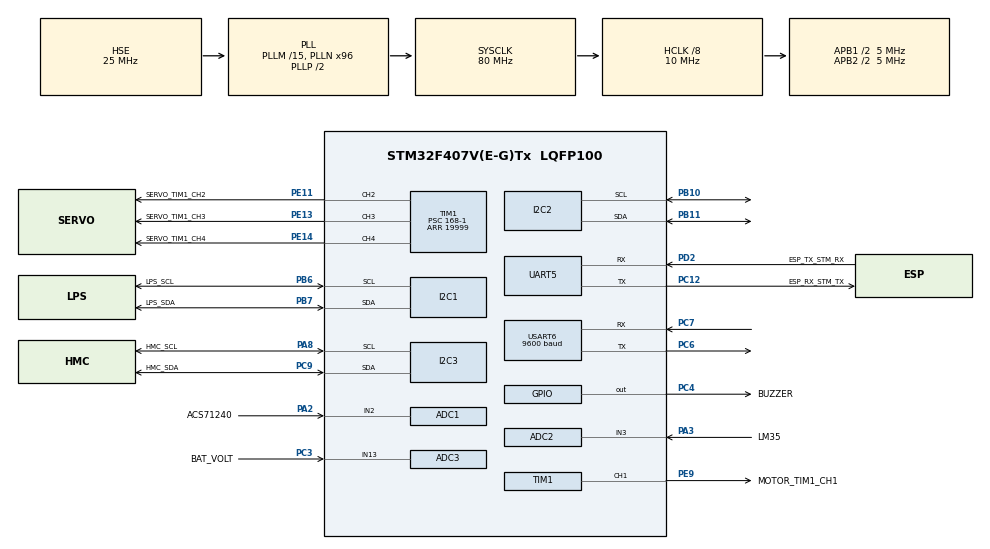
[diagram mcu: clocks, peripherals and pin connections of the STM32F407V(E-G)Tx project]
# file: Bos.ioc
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Mcu.Family=STM32F4
Dma.USART6_TX.3.MemInc=DMA_MINC_ENABLE
Dma.UART5_RX.1.MemInc=DMA_MINC_ENABLE
PH0-OSC_IN.Signal=RCC_OSC_IN
SH.S_TIM1_CH4.0=TIM1_CH4,PWM Generation4 CH4
RCC.CortexFreq_Value=10000000
Dma.USART6_TX.3.PeriphInc=DMA_PINC_DISABLE
PB10.Mode=I2C
PE11.GPIO_Label=SERVO_TIM1_CH2
SH.ADCx_IN2.0=ADC1_IN2,IN2
Dma.USART6_RX.2.Direction=DMA_PERIPH_TO_MEMORY
PC12.Signal=UART5_TX
PB6.GPIO_Label=LPS_SCL
Dma.UART5_TX.0.FIFOMode=DMA_FIFOMODE_DISABLE
Dma.UART5_RX.1.Mode=DMA_CIRCULAR
PB11.Signal=I2C2_SDA
Dma.USART6_RX.2.MemDataAlignment=DMA_MDATAALIGN_BYTE
RCC.SYSCLKSource=RCC_SYSCLKSOURCE_PLLCLK
ProjectManager.StackSize=0x400
Dma.USART6_TX.3.PeriphDataAlignment=DMA_PDATAALIGN_BYTE
ADC3.Channel-6\#ChannelRegularConversion=ADC_CHANNEL_13
NVIC.ADC_IRQn=true\:0\:0\:false\:false\:true\:true\:true
TIM1.Prescaler=168-1
Dma.USART6_TX.3.Priority=DMA_PRIORITY_LOW
TIM1.Channel-PWM\ Generation4\ CH4=TIM_CHANNEL_4
RCC.HCLKFreq_Value=10000000
SH.ADCx_IN3.0=ADC2_IN3,IN3
RCC.APB2TimFreq_Value=10000000
Dma.UART5_TX.0.Priority=DMA_PRIORITY_LOW
PB6.Signal=I2C1_SCL
Dma.UART5_TX.0.PeriphDataAlignment=DMA_PDATAALIGN_BYTE
ADC1.Channel-2\#ChannelRegularConversion=ADC_CHANNEL_2
PC7.Signal=USART6_RX
PB6.Mode=I2C
Dma.USART6_RX.2.Instance=DMA2_Stream1
PC3.Signal=ADCx_IN13
RCC.AHBFreq_Value=10000000
PH0-OSC_IN.Mode=HSE-External-Oscillator
RCC.HSE_VALUE=25000000
Dma.USART6_RX.2.Priority=DMA_PRIORITY_LOW
ADC1.Rank-2\#ChannelRegularConversion=1
PE13.Signal=S_TIM1_CH3
PC4.GPIO_Label=BUZZER
TIM1.Channel-PWM\ Generation1\ CH1=TIM_CHANNEL_1
PE9.Signal=S_TIM1_CH1
PC9.Mode=I2C
PB7.Signal=I2C1_SDA
PA8.Signal=I2C3_SCL
Dma.UART5_TX.0.MemDataAlignment=DMA_MDATAALIGN_BYTE
VP_TIM1_VS_ClockSourceINT.Mode=Internal
NVIC.DMA1_Stream7_IRQn=true\:0\:0\:false\:false\:true\:false\:true
PH1-OSC_OUT.Mode=HSE-External-Oscillator
PB7.GPIO_Label=LPS_SDA
Mcu.Package=LQFP100
USART6.VirtualMode=VM_ASYNC
PA2.GPIO_Label=ACS71240
Dma.UART5_TX.0.MemInc=DMA_MINC_ENABLE
USART6.BaudRate=9600
ADC3.ClockPrescaler=ADC_CLOCK_SYNC_PCLK_DIV4
RCC.APB2CLKDivider=RCC_HCLK_DIV2
Dma.UART5_TX.0.PeriphInc=DMA_PINC_DISABLE
Dma.USART6_TX.3.MemDataAlignment=DMA_MDATAALIGN_BYTE
Dma.Request2=USART6_RX
Dma.Request1=UART5_RX
RCC.APB1TimFreq_Value=10000000
Dma.Request3=USART6_TX
NVIC.DMA1_Stream0_IRQn=true\:0\:0\:false\:false\:true\:false\:true
TIM1.Period=19999
Dma.Request0=UART5_TX
ADC2.Channel-3\#ChannelRegularConversion=ADC_CHANNEL_3
PA3.Signal=ADCx_IN3
ADC2.ClockPrescaler=ADC_CLOCK_SYNC_PCLK_DIV4
RCC.PLLSourceVirtual=RCC_PLLSOURCE_HSE
SH.ADCx_IN13.0=ADC3_IN13,IN13
PC9.GPIO_Label=HMC_SDA
ADC2.Rank-3\#ChannelRegularConversion=1
ADC3.Rank-6\#ChannelRegularConversion=1
Dma.UART5_RX.1.MemDataAlignment=DMA_MDATAALIGN_BYTE
PC4.Signal=GPIO_Output
PC6.Signal=USART6_TX
PE14.GPIO_Label=SERVO_TIM1_CH4
NVIC.DMA2_Stream1_IRQn=true\:0\:0\:false\:false\:true\:false\:true
UART5.VirtualMode=Asynchronous
RCC.APB1CLKDivider=RCC_HCLK_DIV2
Dma.USART6_TX.3.Mode=DMA_CIRCULAR
ADC1.SamplingTime-2\#ChannelRegularConversion=ADC_SAMPLETIME_3CYCLES
PA13.Signal=SYS_JTMS-SWDIO
Dma.UART5_RX.1.FIFOMode=DMA_FIFOMODE_DISABLE
PA8.GPIO_Label=HMC_SCL
SH.S_TIM1_CH1.0=TIM1_CH1,PWM Generation1 CH1
PB11.Mode=I2C
ProjectManager.TargetToolchain=STM32CubeIDE
Dma.USART6_RX.2.MemInc=DMA_MINC_ENABLE
PC6.Mode=Asynchronous
ADC3.SamplingTime-6\#ChannelRegularConversion=ADC_SAMPLETIME_3CYCLES
TIM1.Channel-PWM\ Generation2\ CH2=TIM_CHANNEL_2
Dma.USART6_RX.2.PeriphDataAlignment=DMA_PDATAALIGN_BYTE
NVIC.DMA2_Stream6_IRQn=true\:0\:0\:false\:false\:true\:false\:true
PE11.Signal=S_TIM1_CH2
RCC.LSE_VALUE=32768
PE9.GPIO_Label=MOTOR_TIM1_CH1
PB10.Signal=I2C2_SCL
PD2.Mode=Asynchronous
Dma.UART5_RX.1.Direction=DMA_PERIPH_TO_MEMORY
PC12.Mode=Asynchronous
Dma.UART5_RX.1.Instance=DMA1_Stream0
Dma.USART6_TX.3.Direction=DMA_MEMORY_TO_PERIPH
board=custom
RCC.VCOOutputFreq_Value=160000000
Dma.UART5_TX.0.Direction=DMA_MEMORY_TO_PERIPH
Dma.USART6_RX.2.FIFOMode=DMA_FIFOMODE_DISABLE
Dma.UART5_RX.1.PeriphInc=DMA_PINC_DISABLE
Dma.USART6_RX.2.Mode=DMA_CIRCULAR
RCC.APB2Freq_Value=5000000
PE14.Signal=S_TIM1_CH4
Dma.UART5_RX.1.PeriphDataAlignment=DMA_PDATAALIGN_BYTE
SH.S_TIM1_CH2.0=TIM1_CH2,PWM Generation2 CH2
PH1-OSC_OUT.Signal=RCC_OSC_OUT
RCC.AHBCLKDivider=RCC_SYSCLK_DIV8
ADC2.SamplingTime-3\#ChannelRegularConversion=ADC_SAMPLETIME_3CYCLES
Mcu.Name=STM32F407V(E-G)Tx
PA2.Signal=ADCx_IN2
RCC.48MHZClocksFreq_Value=40000000
RCC.SYSCLKFreq_VALUE=80000000
ADC1.master=1
PE13.GPIO_Label=SERVO_TIM1_CH3
ADC2.NbrOfConversionFlag=1
Dma.UART5_TX.0.Instance=DMA1_Stream7
PC12.GPIO_Label=ESP_RX_STM_TX
PB7.Mode=I2C
PA14.Signal=SYS_JTCK-SWCLK
ProjectManager.HeapSize=0x200
SH.S_TIM1_CH3.0=TIM1_CH3,PWM Generation3 CH3
Dma.USART6_TX.3.FIFOMode=DMA_FIFOMODE_DISABLE
Dma.USART6_TX.3.Instance=DMA2_Stream6
RCC.HSI_VALUE=16000000
NVIC.PriorityGroup=NVIC_PRIORITYGROUP_4
ADC1.NbrOfConversionFlag=1
RCC.PLLM=15
RCC.PLLN=96
PC3.GPIO_Label=BAT_VOLT
PA8.Mode=I2C
PC9.Signal=I2C3_SDA
TIM1.Channel-PWM\ Generation3\ CH3=TIM_CHANNEL_3
PC7.Mode=Asynchronous
PD2.Signal=UART5_RX
Dma.USART6_RX.2.PeriphInc=DMA_PINC_DISABLE
RCC.APB1Freq_Value=5000000
ADC3.NbrOfConversionFlag=1
ADC1.ClockPrescaler=ADC_CLOCK_SYNC_PCLK_DIV4
Dma.UART5_TX.0.Mode=DMA_CIRCULAR
PD2.GPIO_Label=ESP_TX_STM_RX
Dma.UART5_RX.1.Priority=DMA_PRIORITY_LOW
PA3.GPIO_Label=LM35

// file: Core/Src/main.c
/* USER CODE BEGIN Header */
/**
  ******************************************************************************
  * @file           : main.c
  * @brief          : Main program body
  ******************************************************************************
  * @attention
  *
  * <h2><center>&copy; Copyright (c) 2021 STMicroelectronics.
  * All rights reserved.</center></h2>
  *
  * This software component is licensed by ST under BSD 3-Clause license,
  * the "License"; You may not use this file except in compliance with the
  * License. You may obtain a copy of the License at:
  *                        opensource.org/licenses/BSD-3-Clause
  *
  ******************************************************************************
  */
/* USER CODE END Header */
#include "main.h"

/* USER CODE BEGIN Includes */
#include "MPU6050.h"
#include "systick.h"
#include "AESK_Ring_Buffer.h"
#include "AESK_UART_STM32.h"
#include "GPS.h"
#include "lps22hd.h"
#include "HMC5883L.h"
#include "AESK_Data_Pack_lib.h"
#include "Motor.h"
#include "Satellite_Data.h"
#include "PID.h"
#include "LM35.h"
#include "KalmanFilterAHRS.h"
#include "gy271.h"
#include "BMP180.h"
/* USER CODE END Includes */

ADC_HandleTypeDef hadc1;
ADC_HandleTypeDef hadc2;
ADC_HandleTypeDef hadc3;

I2C_HandleTypeDef hi2c1;
I2C_HandleTypeDef hi2c2;
I2C_HandleTypeDef hi2c3;

TIM_HandleTypeDef htim1;

UART_HandleTypeDef huart5;
UART_HandleTypeDef huart6;
DMA_HandleTypeDef hdma_uart5_tx;
DMA_HandleTypeDef hdma_uart5_rx;
DMA_HandleTypeDef hdma_usart6_rx;
DMA_HandleTypeDef hdma_usart6_tx;

/* USER CODE BEGIN PV */
Telemetry telemetry;
MPU_ConfigTypeDef myMpuConfig;
ESP32toSTM32 esp32_data;
BMP_ConfigTypeDef myBmpConfig;
uint8_t count;
/* USER CODE END PV */

void SystemClock_Config(void);
static void MX_GPIO_Init(void);
static void MX_DMA_Init(void);
static void MX_I2C1_Init(void);
static void MX_I2C2_Init(void);
static void MX_I2C3_Init(void);
static void MX_TIM1_Init(void);
static void MX_UART5_Init(void);
static void MX_ADC1_Init(void);
static void MX_ADC2_Init(void);
static void MX_ADC3_Init(void);
static void MX_USART6_UART_Init(void);

int main(void)
{

  /* MCU Configuration--------------------------------------------------------*/

  /* Reset of all peripherals, Initializes the Flash interface and the Systick. */
  HAL_Init();

  /* Configure the system clock */
  SystemClock_Config();

  /* Initialize all configured peripherals */
  MX_GPIO_Init();
  MX_DMA_Init();
  MX_I2C1_Init();
  MX_I2C2_Init();
  MX_I2C3_Init();
  MX_TIM1_Init();
  MX_UART5_Init();
  MX_ADC1_Init();
  MX_ADC2_Init();
  MX_ADC3_Init();
  MX_USART6_UART_Init();
  /* USER CODE BEGIN 2 */
  myMpuConfig.Accel_Full_Scale = AFS_SEL_4g;
  myMpuConfig.ClockSource = Internal_8MHz;
  myMpuConfig.CONFIG_DLPF = DLPF_184A_188G_Hz;
  myMpuConfig.Gyro_Full_Scale = FS_SEL_500;
  myMpuConfig.Sleep_Mode_Bit = 0;  //1: sleep mode, 0: normal mode
//  HAL_TIM_PWM_Start(&htim1, TIM_CHANNEL_1);
//  HAL_TIM_PWM_Start(&htim1, TIM_CHANNEL_3);
//  InitMotorLib(&htim1);
  MPU6050_Init(&hi2c2);
  MPU6050_Config(&myMpuConfig);
  MPU6050_Get_Cal();
//  BarometerInit();
//  InitESC();
//  ManyometerInit();
//  HMC5883LInit();
  Uart_DMA_Receive_Start(&huart5, &esp32_buf);
  Uart_DMA_Receive_Start(&huart6, &uart_buf);
//  ManyometerInit();
//  Magno_Offset_Calc();
  myBmpConfig.Over_Sample_Setting = OSS_0;
  BMP180_Config(&myBmpConfig);
  BMP180_Get_Cal();
  ZeroPBarometer();
  /* USER CODE END 2 */

  /* Infinite loop */
  while (1)
  {

    /* USER CODE BEGIN 3 */
	  if(tt.tasks.task_1000_Hz == 1){
//		  MOTOR_DUTY_CYCLE(&htim1, SERVO_PITCH, duty);
//		  angle = DutytoAngle(duty);
//		  __HAL_TIM_GET_COMPARE();
//		  htim1->Instance->CCR1 = dutydeneme;

		  tt.tasks.task_1000_Hz = 0;
	  }
	  if(tt.tasks.task_250_Hz == 1){
//		  uint8_t tempBuf[255];
//		  uint16_t read_Byte = read_DMA_Buffer(&huart5, &esp32_buf, tempBuf);
//		  if(read_Byte)
//		  {
//			  ESP32_Data_Control(&esp32_data, tempBuf, read_Byte);
//		  }
		  MPU6050_Read_Value();
//		  ServoRotate();
		  tt.tasks.task_250_Hz = 0;
	  }
	  if(tt.tasks.task_200_Hz == 1){

		  tt.tasks.task_200_Hz = 0;
	  }
	  if(tt.tasks.task_100_Hz == 1){
		  switch(count)
		  {
		  	  case WFIRST_TIME:
		  		BMP180_Set_TempRaw_Data();
		  		count += 2;
		  		break;
		  	  case STEP_ONE:
		  		BMP180_Get_PressRaw_Data();
		  		BMP180_Get_True_Data();
		  		BMP180_Set_TempRaw_Data();
		  		count++;
		  		break;
		  	  case STEP_TWO:
		  		BMP180_Get_TempRaw_Data();
		  		BMP180_Set_PressRaw_Data();
		  		count = 1;
		  		break;
		  }
		  tt.tasks.task_100_Hz = 0;
	  }
	  if(tt.tasks.task_75_Hz == 1){
//		  ManyometerReadValue();
		  //HMC5883LReadValue();
//		  BarometerReadValues();
//		  BarometerAltitude();
		  tt.tasks.task_75_Hz = 0;
	  }
	  if(tt.tasks.task_50_Hz == 1){

		  tt.tasks.task_50_Hz = 0;
	  }
	  if(tt.tasks.task_20_Hz == 1){

		  tt.tasks.task_20_Hz = 0;
	  }
	  if(tt.tasks.task_10_Hz == 1){
//		  ManyometerReadValue();
//		  HAL_ADC_Start_IT(&hadc2);
		  tt.tasks.task_10_Hz = 0;
	  }
	  if(tt.tasks.task_2_Hz == 1){
		  CrateTelemetryPack(&telemetry);
		  HAL_UART_Transmit_DMA(&huart5, Telemetry_Package, (uint16_t)sizeof(Telemetry_Package));
		  tt.tasks.task_2_Hz = 0;
	  }
	  if(tt.tasks.task_1_Hz == 1){
		  uint8_t tempBuf[1024];
		  uint16_t read_Byte = read_DMA_Buffer(&huart6, &uart_buf, tempBuf);
		  if(read_Byte)
		  {
			 GPS_Data_Control(&gpsData, tempBuf, read_Byte);
		  }
		  tt.tasks.task_1_Hz = 0;
	  }
  }
  /* USER CODE END 3 */
}

void SystemClock_Config(void)
{
  RCC_OscInitTypeDef RCC_OscInitStruct = {0};
  RCC_ClkInitTypeDef RCC_ClkInitStruct = {0};

  /** Configure the main internal regulator output voltage
  */
  __HAL_RCC_PWR_CLK_ENABLE();
  __HAL_PWR_VOLTAGESCALING_CONFIG(PWR_REGULATOR_VOLTAGE_SCALE1);
  /** Initializes the RCC Oscillators according to the specified parameters
  * in the RCC_OscInitTypeDef structure.
  */
  RCC_OscInitStruct.OscillatorType = RCC_OSCILLATORTYPE_HSE;
  RCC_OscInitStruct.HSEState = RCC_HSE_ON;
  RCC_OscInitStruct.PLL.PLLState = RCC_PLL_ON;
  RCC_OscInitStruct.PLL.PLLSource = RCC_PLLSOURCE_HSE;
  RCC_OscInitStruct.PLL.PLLM = 15;
  RCC_OscInitStruct.PLL.PLLN = 96;
  RCC_OscInitStruct.PLL.PLLP = RCC_PLLP_DIV2;
  RCC_OscInitStruct.PLL.PLLQ = 4;
  if (HAL_RCC_OscConfig(&RCC_OscInitStruct) != HAL_OK)
  {
    Error_Handler();
  }
  /** Initializes the CPU, AHB and APB buses clocks
  */
  RCC_ClkInitStruct.ClockType = RCC_CLOCKTYPE_HCLK|RCC_CLOCKTYPE_SYSCLK
                              |RCC_CLOCKTYPE_PCLK1|RCC_CLOCKTYPE_PCLK2;
  RCC_ClkInitStruct.SYSCLKSource = RCC_SYSCLKSOURCE_PLLCLK;
  RCC_ClkInitStruct.AHBCLKDivider = RCC_SYSCLK_DIV8;
  RCC_ClkInitStruct.APB1CLKDivider = RCC_HCLK_DIV2;
  RCC_ClkInitStruct.APB2CLKDivider = RCC_HCLK_DIV2;

  if (HAL_RCC_ClockConfig(&RCC_ClkInitStruct, FLASH_LATENCY_0) != HAL_OK)
  {
    Error_Handler();
  }
}

static void MX_ADC1_Init(void)
{

  ADC_ChannelConfTypeDef sConfig = {0};

  /** Configure the global features of the ADC (Clock, Resolution, Data Alignment and number of conversion)
  */
  hadc1.Instance = ADC1;
  hadc1.Init.ClockPrescaler = ADC_CLOCK_SYNC_PCLK_DIV4;
  hadc1.Init.Resolution = ADC_RESOLUTION_12B;
  hadc1.Init.ScanConvMode = DISABLE;
  hadc1.Init.ContinuousConvMode = DISABLE;
  hadc1.Init.DiscontinuousConvMode = DISABLE;
  hadc1.Init.ExternalTrigConvEdge = ADC_EXTERNALTRIGCONVEDGE_NONE;
  hadc1.Init.ExternalTrigConv = ADC_SOFTWARE_START;
  hadc1.Init.DataAlign = ADC_DATAALIGN_RIGHT;
  hadc1.Init.NbrOfConversion = 1;
  hadc1.Init.DMAContinuousRequests = DISABLE;
  hadc1.Init.EOCSelection = ADC_EOC_SINGLE_CONV;
  if (HAL_ADC_Init(&hadc1) != HAL_OK)
  {
    Error_Handler();
  }
  /** Configure for the selected ADC regular channel its corresponding rank in the sequencer and its sample time.
  */
  sConfig.Channel = ADC_CHANNEL_2;
  sConfig.Rank = 1;
  sConfig.SamplingTime = ADC_SAMPLETIME_3CYCLES;
  if (HAL_ADC_ConfigChannel(&hadc1, &sConfig) != HAL_OK)
  {
    Error_Handler();
  }

}

static void MX_ADC2_Init(void)
{

  ADC_ChannelConfTypeDef sConfig = {0};

  /** Configure the global features of the ADC (Clock, Resolution, Data Alignment and number of conversion)
  */
  hadc2.Instance = ADC2;
  hadc2.Init.ClockPrescaler = ADC_CLOCK_SYNC_PCLK_DIV4;
  hadc2.Init.Resolution = ADC_RESOLUTION_12B;
  hadc2.Init.ScanConvMode = DISABLE;
  hadc2.Init.ContinuousConvMode = DISABLE;
  hadc2.Init.DiscontinuousConvMode = DISABLE;
  hadc2.Init.ExternalTrigConvEdge = ADC_EXTERNALTRIGCONVEDGE_NONE;
  hadc2.Init.ExternalTrigConv = ADC_SOFTWARE_START;
  hadc2.Init.DataAlign = ADC_DATAALIGN_RIGHT;
  hadc2.Init.NbrOfConversion = 1;
  hadc2.Init.DMAContinuousRequests = DISABLE;
  hadc2.Init.EOCSelection = ADC_EOC_SINGLE_CONV;
  if (HAL_ADC_Init(&hadc2) != HAL_OK)
  {
    Error_Handler();
  }
  /** Configure for the selected ADC regular channel its corresponding rank in the sequencer and its sample time.
  */
  sConfig.Channel = ADC_CHANNEL_3;
  sConfig.Rank = 1;
  sConfig.SamplingTime = ADC_SAMPLETIME_3CYCLES;
  if (HAL_ADC_ConfigChannel(&hadc2, &sConfig) != HAL_OK)
  {
    Error_Handler();
  }

}

static void MX_ADC3_Init(void)
{

  ADC_ChannelConfTypeDef sConfig = {0};

  /** Configure the global features of the ADC (Clock, Resolution, Data Alignment and number of conversion)
  */
  hadc3.Instance = ADC3;
  hadc3.Init.ClockPrescaler = ADC_CLOCK_SYNC_PCLK_DIV4;
  hadc3.Init.Resolution = ADC_RESOLUTION_12B;
  hadc3.Init.ScanConvMode = DISABLE;
  hadc3.Init.ContinuousConvMode = DISABLE;
  hadc3.Init.DiscontinuousConvMode = DISABLE;
  hadc3.Init.ExternalTrigConvEdge = ADC_EXTERNALTRIGCONVEDGE_NONE;
  hadc3.Init.ExternalTrigConv = ADC_SOFTWARE_START;
  hadc3.Init.DataAlign = ADC_DATAALIGN_RIGHT;
  hadc3.Init.NbrOfConversion = 1;
  hadc3.Init.DMAContinuousRequests = DISABLE;
  hadc3.Init.EOCSelection = ADC_EOC_SINGLE_CONV;
  if (HAL_ADC_Init(&hadc3) != HAL_OK)
  {
    Error_Handler();
  }
  /** Configure for the selected ADC regular channel its corresponding rank in the sequencer and its sample time.
  */
  sConfig.Channel = ADC_CHANNEL_13;
  sConfig.Rank = 1;
  sConfig.SamplingTime = ADC_SAMPLETIME_3CYCLES;
  if (HAL_ADC_ConfigChannel(&hadc3, &sConfig) != HAL_OK)
  {
    Error_Handler();
  }

}

static void MX_I2C1_Init(void)
{

  hi2c1.Instance = I2C1;
  hi2c1.Init.ClockSpeed = 100000;
  hi2c1.Init.DutyCycle = I2C_DUTYCYCLE_2;
  hi2c1.Init.OwnAddress1 = 0;
  hi2c1.Init.AddressingMode = I2C_ADDRESSINGMODE_7BIT;
  hi2c1.Init.DualAddressMode = I2C_DUALADDRESS_DISABLE;
  hi2c1.Init.OwnAddress2 = 0;
  hi2c1.Init.GeneralCallMode = I2C_GENERALCALL_DISABLE;
  hi2c1.Init.NoStretchMode = I2C_NOSTRETCH_DISABLE;
  if (HAL_I2C_Init(&hi2c1) != HAL_OK)
  {
    Error_Handler();
  }

}

static void MX_I2C2_Init(void)
{

  hi2c2.Instance = I2C2;
  hi2c2.Init.ClockSpeed = 100000;
  hi2c2.Init.DutyCycle = I2C_DUTYCYCLE_2;
  hi2c2.Init.OwnAddress1 = 0;
  hi2c2.Init.AddressingMode = I2C_ADDRESSINGMODE_7BIT;
  hi2c2.Init.DualAddressMode = I2C_DUALADDRESS_DISABLE;
  hi2c2.Init.OwnAddress2 = 0;
  hi2c2.Init.GeneralCallMode = I2C_GENERALCALL_DISABLE;
  hi2c2.Init.NoStretchMode = I2C_NOSTRETCH_DISABLE;
  if (HAL_I2C_Init(&hi2c2) != HAL_OK)
  {
    Error_Handler();
  }

}

static void MX_I2C3_Init(void)
{

  hi2c3.Instance = I2C3;
  hi2c3.Init.ClockSpeed = 100000;
  hi2c3.Init.DutyCycle = I2C_DUTYCYCLE_2;
  hi2c3.Init.OwnAddress1 = 0;
  hi2c3.Init.AddressingMode = I2C_ADDRESSINGMODE_7BIT;
  hi2c3.Init.DualAddressMode = I2C_DUALADDRESS_DISABLE;
  hi2c3.Init.OwnAddress2 = 0;
  hi2c3.Init.GeneralCallMode = I2C_GENERALCALL_DISABLE;
  hi2c3.Init.NoStretchMode = I2C_NOSTRETCH_DISABLE;
  if (HAL_I2C_Init(&hi2c3) != HAL_OK)
  {
    Error_Handler();
  }

}

static void MX_TIM1_Init(void)
{

  TIM_ClockConfigTypeDef sClockSourceConfig = {0};
  TIM_MasterConfigTypeDef sMasterConfig = {0};
  TIM_OC_InitTypeDef sConfigOC = {0};
  TIM_BreakDeadTimeConfigTypeDef sBreakDeadTimeConfig = {0};

  htim1.Instance = TIM1;
  htim1.Init.Prescaler = 168-1;
  htim1.Init.CounterMode = TIM_COUNTERMODE_UP;
  htim1.Init.Period = 19999;
  htim1.Init.ClockDivision = TIM_CLOCKDIVISION_DIV1;
  htim1.Init.RepetitionCounter = 0;
  htim1.Init.AutoReloadPreload = TIM_AUTORELOAD_PRELOAD_DISABLE;
  if (HAL_TIM_Base_Init(&htim1) != HAL_OK)
  {
    Error_Handler();
  }
  sClockSourceConfig.ClockSource = TIM_CLOCKSOURCE_INTERNAL;
  if (HAL_TIM_ConfigClockSource(&htim1, &sClockSourceConfig) != HAL_OK)
  {
    Error_Handler();
  }
  if (HAL_TIM_PWM_Init(&htim1) != HAL_OK)
  {
    Error_Handler();
  }
  sMasterConfig.MasterOutputTrigger = TIM_TRGO_RESET;
  sMasterConfig.MasterSlaveMode = TIM_MASTERSLAVEMODE_DISABLE;
  if (HAL_TIMEx_MasterConfigSynchronization(&htim1, &sMasterConfig) != HAL_OK)
  {
    Error_Handler();
  }
  sConfigOC.OCMode = TIM_OCMODE_PWM1;
  sConfigOC.Pulse = 0;
  sConfigOC.OCPolarity = TIM_OCPOLARITY_HIGH;
  sConfigOC.OCNPolarity = TIM_OCNPOLARITY_HIGH;
  sConfigOC.OCFastMode = TIM_OCFAST_DISABLE;
  sConfigOC.OCIdleState = TIM_OCIDLESTATE_RESET;
  sConfigOC.OCNIdleState = TIM_OCNIDLESTATE_RESET;
  if (HAL_TIM_PWM_ConfigChannel(&htim1, &sConfigOC, TIM_CHANNEL_1) != HAL_OK)
  {
    Error_Handler();
  }
  if (HAL_TIM_PWM_ConfigChannel(&htim1, &sConfigOC, TIM_CHANNEL_2) != HAL_OK)
  {
    Error_Handler();
  }
  if (HAL_TIM_PWM_ConfigChannel(&htim1, &sConfigOC, TIM_CHANNEL_3) != HAL_OK)
  {
    Error_Handler();
  }
  if (HAL_TIM_PWM_ConfigChannel(&htim1, &sConfigOC, TIM_CHANNEL_4) != HAL_OK)
  {
    Error_Handler();
  }
  sBreakDeadTimeConfig.OffStateRunMode = TIM_OSSR_DISABLE;
  sBreakDeadTimeConfig.OffStateIDLEMode = TIM_OSSI_DISABLE;
  sBreakDeadTimeConfig.LockLevel = TIM_LOCKLEVEL_OFF;
  sBreakDeadTimeConfig.DeadTime = 0;
  sBreakDeadTimeConfig.BreakState = TIM_BREAK_DISABLE;
  sBreakDeadTimeConfig.BreakPolarity = TIM_BREAKPOLARITY_HIGH;
  sBreakDeadTimeConfig.AutomaticOutput = TIM_AUTOMATICOUTPUT_DISABLE;
  if (HAL_TIMEx_ConfigBreakDeadTime(&htim1, &sBreakDeadTimeConfig) != HAL_OK)
  {
    Error_Handler();
  }
  HAL_TIM_MspPostInit(&htim1);

}

static void MX_UART5_Init(void)
{

  huart5.Instance = UART5;
  huart5.Init.BaudRate = 115200;
  huart5.Init.WordLength = UART_WORDLENGTH_8B;
  huart5.Init.StopBits = UART_STOPBITS_1;
  huart5.Init.Parity = UART_PARITY_NONE;
  huart5.Init.Mode = UART_MODE_TX_RX;
  huart5.Init.HwFlowCtl = UART_HWCONTROL_NONE;
  huart5.Init.OverSampling = UART_OVERSAMPLING_16;
  if (HAL_UART_Init(&huart5) != HAL_OK)
  {
    Error_Handler();
  }

}

static void MX_USART6_UART_Init(void)
{

  huart6.Instance = USART6;
  huart6.Init.BaudRate = 9600;
  huart6.Init.WordLength = UART_WORDLENGTH_8B;
  huart6.Init.StopBits = UART_STOPBITS_1;
  huart6.Init.Parity = UART_PARITY_NONE;
  huart6.Init.Mode = UART_MODE_TX_RX;
  huart6.Init.HwFlowCtl = UART_HWCONTROL_NONE;
  huart6.Init.OverSampling = UART_OVERSAMPLING_16;
  if (HAL_UART_Init(&huart6) != HAL_OK)
  {
    Error_Handler();
  }

}

static void MX_DMA_Init(void)
{

  /* DMA controller clock enable */
  __HAL_RCC_DMA1_CLK_ENABLE();
  __HAL_RCC_DMA2_CLK_ENABLE();

  /* DMA interrupt init */
  /* DMA1_Stream0_IRQn interrupt configuration */
  HAL_NVIC_SetPriority(DMA1_Stream0_IRQn, 0, 0);
  HAL_NVIC_EnableIRQ(DMA1_Stream0_IRQn);
  /* DMA1_Stream7_IRQn interrupt configuration */
  HAL_NVIC_SetPriority(DMA1_Stream7_IRQn, 0, 0);
  HAL_NVIC_EnableIRQ(DMA1_Stream7_IRQn);
  /* DMA2_Stream1_IRQn interrupt configuration */
  HAL_NVIC_SetPriority(DMA2_Stream1_IRQn, 0, 0);
  HAL_NVIC_EnableIRQ(DMA2_Stream1_IRQn);
  /* DMA2_Stream6_IRQn interrupt configuration */
  HAL_NVIC_SetPriority(DMA2_Stream6_IRQn, 0, 0);
  HAL_NVIC_EnableIRQ(DMA2_Stream6_IRQn);

}

static void MX_GPIO_Init(void)
{
  GPIO_InitTypeDef GPIO_InitStruct = {0};

  /* GPIO Ports Clock Enable */
  __HAL_RCC_GPIOH_CLK_ENABLE();
  __HAL_RCC_GPIOC_CLK_ENABLE();
  __HAL_RCC_GPIOA_CLK_ENABLE();
  __HAL_RCC_GPIOE_CLK_ENABLE();
  __HAL_RCC_GPIOB_CLK_ENABLE();
  __HAL_RCC_GPIOD_CLK_ENABLE();

  /*Configure GPIO pin Output Level */
  HAL_GPIO_WritePin(BUZZER_GPIO_Port, BUZZER_Pin, GPIO_PIN_RESET);

  /*Configure GPIO pin : BUZZER_Pin */
  GPIO_InitStruct.Pin = BUZZER_Pin;
  GPIO_InitStruct.Mode = GPIO_MODE_OUTPUT_PP;
  GPIO_InitStruct.Pull = GPIO_NOPULL;
  GPIO_InitStruct.Speed = GPIO_SPEED_FREQ_LOW;
  HAL_GPIO_Init(BUZZER_GPIO_Port, &GPIO_InitStruct);

}

/* USER CODE BEGIN 4 */
void HAL_ADC_ConvCpltCallback(ADC_HandleTypeDef* hadc)
{
//	if(hadc == &hadc2)
//	{
//		telemetry.temperature = Get_Temperature(hadc);
//
//	}
}
/* USER CODE END 4 */

void Error_Handler(void)
{
  __disable_irq();
  while (1)
  {
  }
}

/************************ (C) COPYRIGHT STMicroelectronics *****END OF FILE****/
